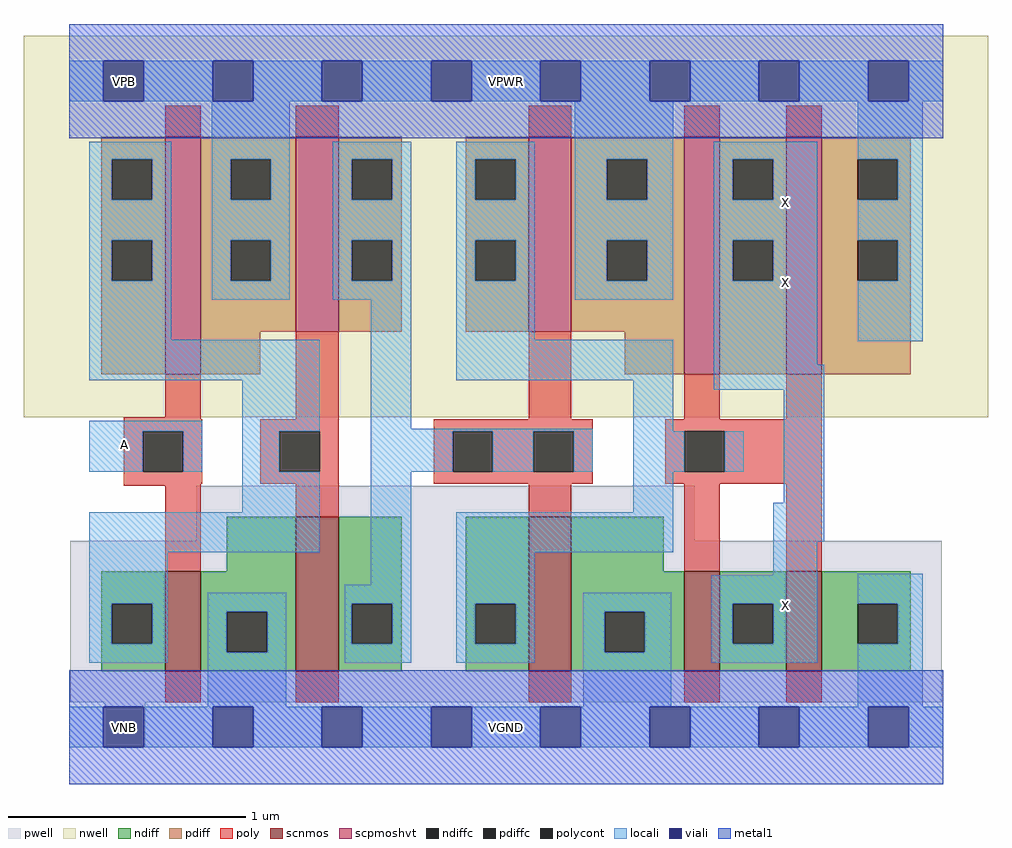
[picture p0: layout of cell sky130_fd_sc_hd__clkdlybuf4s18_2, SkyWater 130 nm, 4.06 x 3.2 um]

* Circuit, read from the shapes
.subckt sky130_fd_sc_hd__clkdlybuf4s18_2 A VGND VNB VPB VPWR X
XM1 VGND A n1 VNB sky130_fd_pr__nfet_01v8 w=0.42 l=0.15
XM2 n2 n1 VGND VNB sky130_fd_pr__nfet_01v8 w=0.65 l=0.18
XM3 VGND n2 n3 VNB sky130_fd_pr__nfet_01v8 w=0.65 l=0.18
XM4 X n3 VGND VNB sky130_fd_pr__nfet_01v8 w=0.42 l=0.15 m=2
XM5 VPWR A n1 VPB sky130_fd_pr__pfet_01v8_hvt w=1 l=0.15
XM6 n2 n1 VPWR VPB sky130_fd_pr__pfet_01v8_hvt w=0.82 l=0.18
XM7 VPWR n2 n3 VPB sky130_fd_pr__pfet_01v8_hvt w=0.82 l=0.18
XM8 X n3 VPWR VPB sky130_fd_pr__pfet_01v8_hvt w=1 l=0.15 m=2
.ends

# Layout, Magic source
magic
tech sky130B
magscale 1 2
<< nwell >>
rect -38 261 774 582
<< pwell >>
rect 107 157 527 203
rect 1 21 735 157
rect 30 -17 64 21
<< scnmos >>
rect 81 47 111 131
rect 191 47 227 177
rect 387 47 423 177
rect 518 47 548 131
rect 604 47 634 131
<< scpmoshvt >>
rect 81 297 111 497
rect 191 333 227 497
rect 387 333 423 497
rect 518 297 548 497
rect 604 297 634 497
<< ndiff >>
rect 133 131 191 177
rect 27 104 81 131
rect 27 70 36 104
rect 70 70 81 104
rect 27 47 81 70
rect 111 97 191 131
rect 111 63 133 97
rect 167 63 191 97
rect 111 47 191 63
rect 227 104 280 177
rect 227 70 238 104
rect 272 70 280 104
rect 227 47 280 70
rect 334 104 387 177
rect 334 70 342 104
rect 376 70 387 104
rect 334 47 387 70
rect 423 131 501 177
rect 423 97 518 131
rect 423 63 451 97
rect 485 63 518 97
rect 423 47 518 63
rect 548 104 604 131
rect 548 70 559 104
rect 593 70 604 104
rect 548 47 604 70
rect 634 104 709 131
rect 634 70 664 104
rect 698 70 709 104
rect 634 47 709 70
<< pdiff >>
rect 27 478 81 497
rect 27 444 36 478
rect 70 444 81 478
rect 27 410 81 444
rect 27 376 36 410
rect 70 376 81 410
rect 27 297 81 376
rect 111 478 191 497
rect 111 444 136 478
rect 170 444 191 478
rect 111 410 191 444
rect 111 376 136 410
rect 170 376 191 410
rect 111 333 191 376
rect 227 478 280 497
rect 227 444 238 478
rect 272 444 280 478
rect 227 410 280 444
rect 227 376 238 410
rect 272 376 280 410
rect 227 333 280 376
rect 334 478 387 497
rect 334 444 342 478
rect 376 444 387 478
rect 334 410 387 444
rect 334 376 342 410
rect 376 376 387 410
rect 334 333 387 376
rect 423 478 518 497
rect 423 444 453 478
rect 487 444 518 478
rect 423 410 518 444
rect 423 376 453 410
rect 487 376 518 410
rect 423 333 518 376
rect 111 297 161 333
rect 468 297 518 333
rect 548 478 604 497
rect 548 444 559 478
rect 593 444 604 478
rect 548 410 604 444
rect 548 376 559 410
rect 593 376 604 410
rect 548 297 604 376
rect 634 478 709 497
rect 634 444 664 478
rect 698 444 709 478
rect 634 410 709 444
rect 634 376 664 410
rect 698 376 709 410
rect 634 297 709 376
<< ndiffc >>
rect 36 70 70 104
rect 133 63 167 97
rect 238 70 272 104
rect 342 70 376 104
rect 451 63 485 97
rect 559 70 593 104
rect 664 70 698 104
<< pdiffc >>
rect 36 444 70 478
rect 36 376 70 410
rect 136 444 170 478
rect 136 376 170 410
rect 238 444 272 478
rect 238 376 272 410
rect 342 444 376 478
rect 342 376 376 410
rect 453 444 487 478
rect 453 376 487 410
rect 559 444 593 478
rect 559 376 593 410
rect 664 444 698 478
rect 664 376 698 410
<< poly >>
rect 81 497 111 523
rect 191 497 227 523
rect 387 497 423 523
rect 518 497 548 523
rect 604 497 634 523
rect 81 261 111 297
rect 46 259 111 261
rect 191 259 227 333
rect 387 259 423 333
rect 518 259 548 297
rect 604 259 634 297
rect 46 249 112 259
rect 46 215 62 249
rect 96 215 112 249
rect 46 205 112 215
rect 161 249 227 259
rect 161 215 177 249
rect 211 215 227 249
rect 161 205 227 215
rect 307 249 441 259
rect 307 215 323 249
rect 357 215 391 249
rect 425 215 441 249
rect 307 205 441 215
rect 502 249 634 259
rect 502 215 518 249
rect 552 215 634 249
rect 502 205 634 215
rect 46 203 111 205
rect 81 131 111 203
rect 191 177 227 205
rect 387 177 423 205
rect 518 131 548 205
rect 604 131 634 205
rect 81 21 111 47
rect 191 21 227 47
rect 387 21 423 47
rect 518 21 548 47
rect 604 21 634 47
<< polycont >>
rect 62 215 96 249
rect 177 215 211 249
rect 323 215 357 249
rect 391 215 425 249
rect 518 215 552 249
<< locali >>
rect 0 527 29 561
rect 63 527 121 561
rect 155 527 213 561
rect 247 527 305 561
rect 339 527 397 561
rect 431 527 489 561
rect 523 527 581 561
rect 615 527 673 561
rect 707 527 736 561
rect 17 478 86 493
rect 17 444 36 478
rect 70 444 86 478
rect 17 410 86 444
rect 17 376 36 410
rect 70 376 86 410
rect 17 326 86 376
rect 120 478 186 527
rect 120 444 136 478
rect 170 444 186 478
rect 120 410 186 444
rect 120 376 136 410
rect 170 376 186 410
rect 120 360 186 376
rect 222 478 288 493
rect 222 444 238 478
rect 272 444 288 478
rect 222 410 288 444
rect 222 376 238 410
rect 272 376 288 410
rect 222 360 288 376
rect 17 292 211 326
rect 17 249 112 258
rect 17 215 62 249
rect 96 215 112 249
rect 146 249 211 292
rect 146 215 177 249
rect 146 181 211 215
rect 17 147 211 181
rect 254 251 288 360
rect 326 478 392 493
rect 326 444 342 478
rect 376 444 392 478
rect 326 410 392 444
rect 326 376 342 410
rect 376 376 392 410
rect 326 326 392 376
rect 426 478 509 527
rect 426 444 453 478
rect 487 444 509 478
rect 426 410 509 444
rect 426 376 453 410
rect 487 376 509 410
rect 426 360 509 376
rect 543 478 630 493
rect 543 444 559 478
rect 593 444 630 478
rect 543 410 630 444
rect 543 376 559 410
rect 593 376 630 410
rect 326 292 509 326
rect 254 249 441 251
rect 254 215 323 249
rect 357 215 391 249
rect 425 215 441 249
rect 475 249 509 292
rect 543 305 630 376
rect 664 478 719 527
rect 698 444 719 478
rect 664 410 719 444
rect 698 376 719 410
rect 664 325 719 376
rect 543 284 636 305
rect 475 215 518 249
rect 552 215 568 249
rect 17 104 83 147
rect 254 120 288 215
rect 475 181 509 215
rect 602 189 636 284
rect 17 70 36 104
rect 70 70 83 104
rect 17 54 83 70
rect 117 97 183 113
rect 117 63 133 97
rect 167 63 183 97
rect 117 17 183 63
rect 232 104 288 120
rect 232 70 238 104
rect 272 70 288 104
rect 232 54 288 70
rect 326 147 509 181
rect 593 156 636 189
rect 326 104 392 147
rect 593 128 630 156
rect 326 70 342 104
rect 376 70 392 104
rect 326 54 392 70
rect 433 97 507 113
rect 433 63 451 97
rect 485 63 507 97
rect 433 17 507 63
rect 541 104 630 128
rect 541 70 559 104
rect 593 70 630 104
rect 541 54 630 70
rect 664 104 719 129
rect 698 70 719 104
rect 664 17 719 70
rect 0 -17 29 17
rect 63 -17 121 17
rect 155 -17 213 17
rect 247 -17 305 17
rect 339 -17 397 17
rect 431 -17 489 17
rect 523 -17 581 17
rect 615 -17 673 17
rect 707 -17 736 17
<< viali >>
rect 29 527 63 561
rect 121 527 155 561
rect 213 527 247 561
rect 305 527 339 561
rect 397 527 431 561
rect 489 527 523 561
rect 581 527 615 561
rect 673 527 707 561
rect 29 -17 63 17
rect 121 -17 155 17
rect 213 -17 247 17
rect 305 -17 339 17
rect 397 -17 431 17
rect 489 -17 523 17
rect 581 -17 615 17
rect 673 -17 707 17
<< metal1 >>
rect 0 561 736 592
rect 0 527 29 561
rect 63 527 121 561
rect 155 527 213 561
rect 247 527 305 561
rect 339 527 397 561
rect 431 527 489 561
rect 523 527 581 561
rect 615 527 673 561
rect 707 527 736 561
rect 0 496 736 527
rect 0 17 736 48
rect 0 -17 29 17
rect 63 -17 121 17
rect 155 -17 213 17
rect 247 -17 305 17
rect 339 -17 397 17
rect 431 -17 489 17
rect 523 -17 581 17
rect 615 -17 673 17
rect 707 -17 736 17
rect 0 -48 736 -17
<< labels >>
flabel locali s 30 221 64 255 0 FreeSans 400 0 0 0 A
port 1 nsew signal input
flabel locali s 586 85 620 119 0 FreeSans 400 0 0 0 X
port 6 nsew signal output
flabel locali s 586 425 620 459 0 FreeSans 400 0 0 0 X
port 6 nsew signal output
flabel locali s 586 357 620 391 0 FreeSans 400 0 0 0 X
port 6 nsew signal output
flabel pwell s 30 -17 64 17 0 FreeSans 200 0 0 0 VNB
port 3 nsew ground bidirectional
flabel nwell s 30 527 64 561 0 FreeSans 200 0 0 0 VPB
port 4 nsew power bidirectional
flabel metal1 s 30 -17 64 17 0 FreeSans 200 0 0 0 VGND
port 2 nsew ground bidirectional abutment
flabel metal1 s 30 527 64 561 0 FreeSans 200 0 0 0 VPWR
port 5 nsew power bidirectional abutment
rlabel comment s 0 0 0 0 4 clkdlybuf4s18_2
rlabel metal1 s 0 -48 736 48 1 VGND
port 2 nsew ground bidirectional abutment
rlabel metal1 s 0 496 736 592 1 VPWR
port 5 nsew power bidirectional abutment
<< properties >>
string FIXED_BBOX 0 0 736 544
string GDS_END 3255508
string GDS_FILE $PDKPATH/libs.ref/sky130_fd_sc_hd/gds/sky130_fd_sc_hd.gds
string GDS_START 3249398
string LEFclass CORE
string LEFsite unithd
string LEFsymmetry X Y R90
string path 0.000 13.600 18.400 13.600 
<< end >>
